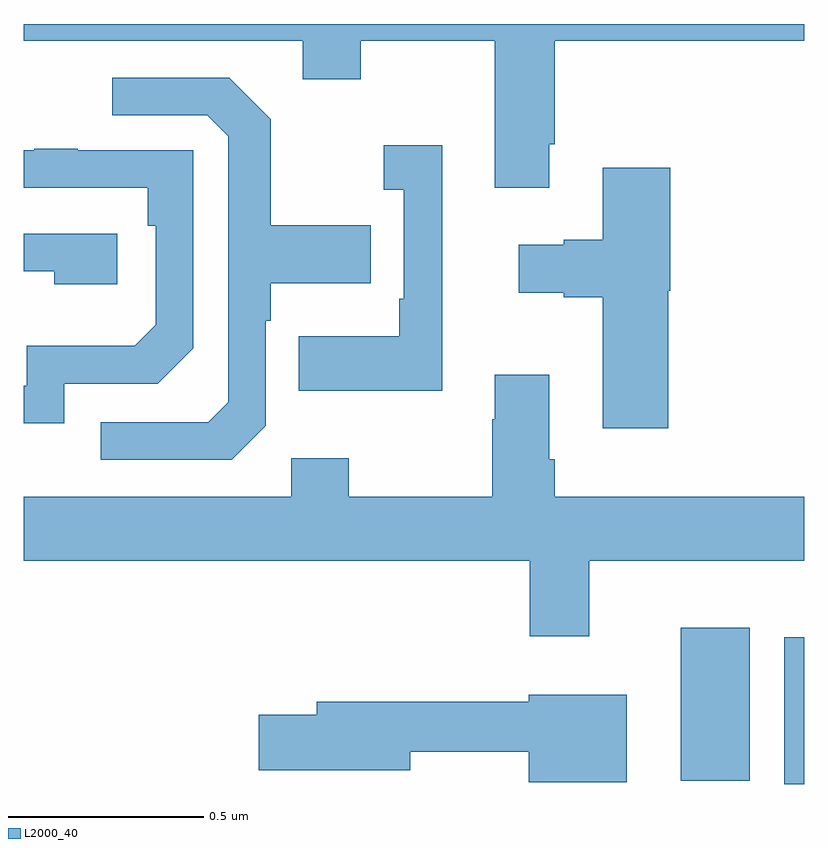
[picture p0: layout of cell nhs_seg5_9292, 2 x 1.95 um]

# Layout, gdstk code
import gdstk
lib = gdstk.Library(unit=1e-6, precision=1e-09)
def R(c, l, rs):  # rectangles x0, y0, x1, y1
    for r in rs: c.add(gdstk.rectangle(r[:2], r[2:], *l))
def P(c, l, *ps):  # polygons
    for p in ps: c.add(gdstk.Polygon(p, *l))
L2000_40 = (2000, 40)

nhs_seg5_9292 = lib.new_cell('nhs_seg5_9292')
R(nhs_seg5_9292, L2000_40, [(233.948,858.852,234,859.228), (233.684,858.86,233.86,859.252)])
P(nhs_seg5_9292, L2000_40, [(234,860.799),(232,860.799),(232,860.756),(232.715,860.756),(232.715,860.657),(232.863,860.657),(232.863,860.756),(233.207,860.756),(233.207,860.379),(233.347,860.379),(233.347,860.491),(233.36,860.491),(233.36,860.756),(234,860.756)],
  [(232.62,859.77),(232.62,860.039),(232.633,860.039),(232.633,860.135),(232.889,860.135),(232.889,860.283),(232.633,860.283),(232.633,860.555),(232.527,860.661),(232.227,860.661),(232.227,860.565),(232.47,860.565),(232.524,860.511),(232.524,859.83),(232.473,859.779),(232.197,859.779),(232.197,859.683),(232.533,859.683)],
  [(233.072,860.488),(232.923,860.488),(232.923,860.375),(232.974,860.375),(232.974,860.095),(232.962,860.095),(232.962,859.999),(232.705,859.999),(232.705,859.859),(233.072,859.859)],
  [(232.104,859.878),(232.344,859.878),(232.434,859.968),(232.434,860.475),(232.139,860.475),(232.139,860.48),(232.027,860.48),(232.027,860.475),(232,860.475),(232,860.379),(232.318,860.379),(232.318,860.282),(232.338,860.282),(232.338,860.028),(232.285,859.975),(232.008,859.975),(232.008,859.872),(232,859.872),(232,859.776),(232.104,859.776)],
  [(233.651,860.115),(233.656,860.115),(233.656,860.431),(233.483,860.431),(233.483,860.246),(233.384,860.246),(233.384,860.233),(233.268,860.233),(233.268,860.111),(233.384,860.111),(233.384,860.099),(233.483,860.099),(233.483,859.764),(233.651,859.764)],
  [(232.24,860.262),(232,860.262),(232,860.166),(232.079,860.166),(232.079,860.132),(232.24,860.132)],
  [(233.449,859.424),(234,859.424),(234,859.588),(233.36,859.588),(233.36,859.684),(233.347,859.684),(233.347,859.9),(233.207,859.9),(233.207,859.787),(233.2,859.787),(233.2,859.588),(232.833,859.588),(232.833,859.687),(232.686,859.687),(232.686,859.588),(232,859.588),(232,859.424),(233.297,859.424),(233.297,859.23),(233.449,859.23)],
  [(233.545,859.081),(233.294,859.081),(233.294,859.063),(232.751,859.063),(232.751,859.029),(232.602,859.029),(232.602,858.887),(232.99,858.887),(232.99,858.934),(233.294,858.934),(233.294,858.857),(233.545,858.857)])

lib.write_gds('nhs_seg5_9292.gds')
